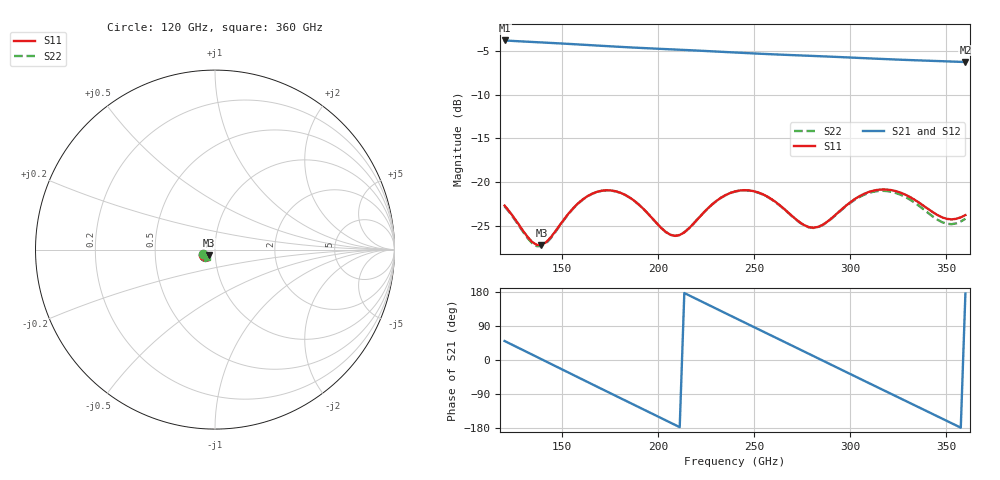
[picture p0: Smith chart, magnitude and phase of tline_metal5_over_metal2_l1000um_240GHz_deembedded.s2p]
! Created with skrf 2.2.0 (http://scikit-rf.org).
# GHz S DB R 50.0
! Port[1] = P1
! Port[2] = P2
!freq dBS11 angS11 dBS21 angS21 dBS12 angS12 dBS22 angS22
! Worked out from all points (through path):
!   101 points, 120 GHz to 360 GHz, reference 50 ohm
!   highest |S21| = -3.81 dB at 120 GHz (marker M1); lowest = -6.3 dB at 360 GHz (marker M2)
!   group delay of S21, straight-line fit = 6.88 ps
!   lowest |S11| = -27.2 dB at 139.2 GHz (marker M3), VSWR 1.09, Z = 46.8 - j2.75 ohm
!   |S11| at or under -10 dB: start of sweep to end of sweep
!   |S22| runs from -27.3 to -20.9 dB; largest |S21 - S12| = 9.1e-15
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120  -22.67 -157.6  -3.81 50.1  -3.81 50.1  -22.76 -158.4
129.6  -25.54 -158.0  -3.92 26.1  -3.92 26.1  -25.66 -158.6
139.2  -27.16 -137.9  -4.03 2.1  -4.03 2.1  -27.30 -137.9
148.8  -24.88 -122.4  -4.15 -22.0  -4.15 -22.0  -24.95 -122.2
160.8  -21.94 -127.8  -4.29 -52.0  -4.29 -52.0  -21.97 -127.7
170.4  -20.97 -139.4  -4.42 -76.0  -4.42 -76.0  -20.99 -139.4
180  -21.17 -151.6  -4.54 -99.8  -4.54 -99.8  -21.19 -151.6
189.6  -22.49 -160.7  -4.65 -123.7  -4.65 -123.7  -22.50 -160.6
201.6  -25.23 -158.8  -4.77 -153.4  -4.77 -153.4  -25.22 -158.8
208.8  -26.13 -146.5  -4.84 -171.3  -4.84 -171.3  -26.12 -146.6
218.4  -24.73 -131.7  -4.94 164.8  -4.94 164.8  -24.72 -131.9
240  -21.05 -141.5  -5.18 111.2  -5.18 111.2  -21.07 -141.8
249.6  -21.01 -151.8  -5.29 87.5  -5.29 87.5  -21.04 -152.0
259.2  -21.95 -160.0  -5.38 63.9  -5.38 63.9  -21.99 -160.2
271.2  -24.13 -160.4  -5.49 34.3  -5.49 34.3  -24.17 -160.7
280.8  -25.19 -148.4  -5.58 10.5  -5.58 10.5  -25.22 -148.7
297.6  -22.71 -134.6  -5.73 -31.0  -5.73 -31.0  -22.77 -135.3
309.6  -21.12 -141.5  -5.85 -60.6  -5.85 -60.6  -21.23 -142.3
321.6  -20.90 -152.2  -5.97 -90.1  -5.97 -90.1  -21.10 -153.2
331.2  -21.70 -158.9  -6.05 -113.7  -6.05 -113.7  -21.99 -160.0
343.2  -23.44 -159.0  -6.14 -143.2  -6.14 -143.2  -23.94 -159.4
360  -23.75 -141.7  -6.27 175.5  -6.27 175.5  -24.17 -139.4
